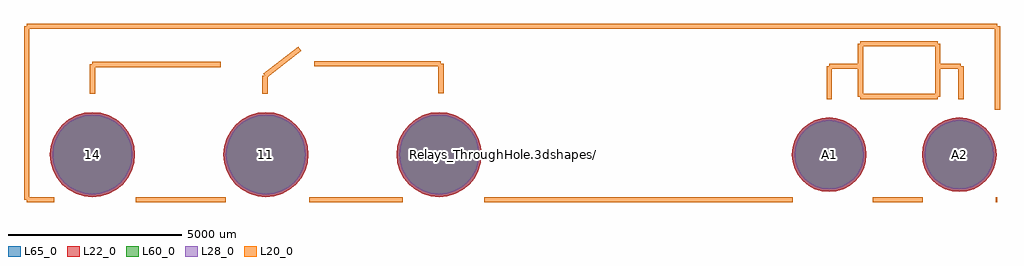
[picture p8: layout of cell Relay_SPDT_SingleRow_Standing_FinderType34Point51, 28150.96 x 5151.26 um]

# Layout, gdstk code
import gdstk
lib = gdstk.Library(unit=1e-6, precision=1e-09)
def P(c, l, *ps):  # polygons
    for p in ps: c.add(gdstk.Polygon(p, *l))
L20_0 = (20, 0)
L22_0 = (22, 0)
L28_0 = (28, 0)
L60_0 = (60, 0)
L65_0 = (65, 0)

relay_spdt_singlerow_sta = lib.new_cell('Relay_SPDT_SingleRow_Standing_FinderType34Point51')
P(relay_spdt_singlerow_sta, L22_0, [(14229.15,0),(14208.504,209.623),(14147.359,411.19),(14048.066,596.955),(13914.439,759.779),(13751.615,893.406),(13565.85,992.699),(13364.283,1053.844),(13154.66,1074.49),(12945.037,1053.844),(12743.47,992.699),(12557.705,893.406),(12394.881,759.779),(12261.254,596.955),(12161.961,411.19),(12100.816,209.623),(12080.17,0),(12100.816,-209.623),(12161.961,-411.19),(12261.254,-596.955),(12394.881,-759.779),(12557.705,-893.406),(12743.47,-992.699),(12945.037,-1053.844),(13154.66,-1074.49),(13364.283,-1053.844),(13565.85,-992.699),(13751.615,-893.406),(13914.439,-759.779),(14048.066,-596.955),(14147.359,-411.19),(14208.504,-209.623)],
  [(10477.57,0),(10456.924,209.623),(10395.779,411.19),(10296.486,596.955),(10162.859,759.779),(10000.035,893.406),(9814.27,992.699),(9612.703,1053.844),(9403.08,1074.49),(9193.457,1053.844),(8991.89,992.699),(8806.125,893.406),(8643.301,759.779),(8509.674,596.955),(8410.381,411.19),(8349.236,209.623),(8328.59,0),(8349.236,-209.623),(8410.381,-411.19),(8509.674,-596.955),(8643.301,-759.779),(8806.125,-893.406),(8991.89,-992.699),(9193.457,-1053.844),(9403.08,-1074.49),(9612.703,-1053.844),(9814.27,-992.699),(10000.035,-893.406),(10162.859,-759.779),(10296.486,-596.955),(10395.779,-411.19),(10456.924,-209.623)],
  [(-620.96,0),(-644.51,239.107),(-714.255,469.024),(-827.514,680.918),(-979.936,866.644),(-1165.662,1019.066),(-1377.556,1132.325),(-1607.473,1202.07),(-1846.58,1225.62),(-2085.687,1202.07),(-2315.604,1132.325),(-2527.498,1019.066),(-2713.224,866.644),(-2865.646,680.918),(-2978.905,469.024),(-3048.65,239.107),(-3072.2,0),(-3048.65,-239.107),(-2978.905,-469.024),(-2865.646,-680.918),(-2713.224,-866.644),(-2527.498,-1019.066),(-2315.604,-1132.325),(-2085.687,-1202.07),(-1846.58,-1225.62),(-1607.473,-1202.07),(-1377.556,-1132.325),(-1165.662,-1019.066),(-979.936,-866.644),(-827.514,-680.918),(-714.255,-469.024),(-644.51,-239.107)],
  [(-5619.68,0),(-5643.23,239.107),(-5712.975,469.024),(-5826.234,680.918),(-5978.656,866.644),(-6164.382,1019.066),(-6376.276,1132.325),(-6606.193,1202.07),(-6845.3,1225.62),(-7084.407,1202.07),(-7314.324,1132.325),(-7526.218,1019.066),(-7711.944,866.644),(-7864.366,680.918),(-7977.625,469.024),(-8047.37,239.107),(-8070.92,0),(-8047.37,-239.107),(-7977.625,-469.024),(-7864.366,-680.918),(-7711.944,-866.644),(-7526.218,-1019.066),(-7314.324,-1132.325),(-7084.407,-1202.07),(-6845.3,-1225.62),(-6606.193,-1202.07),(-6376.276,-1132.325),(-6164.382,-1019.066),(-5978.656,-866.644),(-5826.234,-680.918),(-5712.975,-469.024),(-5643.23,-239.107)],
  [(-10620.94,0),(-10644.49,239.107),(-10714.235,469.024),(-10827.494,680.918),(-10979.916,866.644),(-11165.642,1019.066),(-11377.536,1132.325),(-11607.453,1202.07),(-11846.56,1225.62),(-12085.667,1202.07),(-12315.584,1132.325),(-12527.478,1019.066),(-12713.204,866.644),(-12865.626,680.918),(-12978.885,469.024),(-13048.63,239.107),(-13072.18,0),(-13048.63,-239.107),(-12978.885,-469.024),(-12865.626,-680.918),(-12713.204,-866.644),(-12527.478,-1019.066),(-12315.584,-1132.325),(-12085.667,-1202.07),(-11846.56,-1225.62),(-11607.453,-1202.07),(-11377.536,-1132.325),(-11165.642,-1019.066),(-10979.916,-866.644),(-10827.494,-680.918),(-10714.235,-469.024),(-10644.49,-239.107)])
P(relay_spdt_singlerow_sta, L28_0, [(14154.15,0),(14134.945,194.991),(14078.068,382.488),(13985.706,555.287),(13861.406,706.746),(13709.947,831.046),(13537.148,923.408),(13349.651,980.285),(13154.66,999.49),(12959.669,980.285),(12772.172,923.408),(12599.373,831.046),(12447.914,706.746),(12323.614,555.287),(12231.252,382.488),(12174.375,194.991),(12155.17,0),(12174.375,-194.991),(12231.252,-382.488),(12323.614,-555.287),(12447.914,-706.746),(12599.373,-831.046),(12772.172,-923.408),(12959.669,-980.285),(13154.66,-999.49),(13349.651,-980.285),(13537.148,-923.408),(13709.947,-831.046),(13861.406,-706.746),(13985.706,-555.287),(14078.068,-382.488),(14134.945,-194.991)],
  [(10402.57,0),(10383.365,194.991),(10326.488,382.488),(10234.126,555.287),(10109.826,706.746),(9958.367,831.046),(9785.568,923.408),(9598.071,980.285),(9403.08,999.49),(9208.089,980.285),(9020.592,923.408),(8847.793,831.046),(8696.334,706.746),(8572.034,555.287),(8479.672,382.488),(8422.795,194.991),(8403.59,0),(8422.795,-194.991),(8479.672,-382.488),(8572.034,-555.287),(8696.334,-706.746),(8847.793,-831.046),(9020.592,-923.408),(9208.089,-980.285),(9403.08,-999.49),(9598.071,-980.285),(9785.568,-923.408),(9958.367,-831.046),(10109.826,-706.746),(10234.126,-555.287),(10326.488,-382.488),(10383.365,-194.991)],
  [(-695.96,0),(-718.069,224.475),(-783.546,440.323),(-889.874,639.25),(-1032.969,813.611),(-1207.33,956.706),(-1406.257,1063.034),(-1622.105,1128.511),(-1846.58,1150.62),(-2071.055,1128.511),(-2286.903,1063.034),(-2485.83,956.706),(-2660.191,813.611),(-2803.286,639.25),(-2909.614,440.323),(-2975.091,224.475),(-2997.2,0),(-2975.091,-224.475),(-2909.614,-440.323),(-2803.286,-639.25),(-2660.191,-813.611),(-2485.83,-956.706),(-2286.903,-1063.034),(-2071.055,-1128.511),(-1846.58,-1150.62),(-1622.105,-1128.511),(-1406.257,-1063.034),(-1207.33,-956.706),(-1032.969,-813.611),(-889.874,-639.25),(-783.546,-440.323),(-718.069,-224.475)],
  [(-5694.68,0),(-5716.789,224.475),(-5782.266,440.323),(-5888.594,639.25),(-6031.689,813.611),(-6206.05,956.706),(-6404.977,1063.034),(-6620.825,1128.511),(-6845.3,1150.62),(-7069.775,1128.511),(-7285.623,1063.034),(-7484.55,956.706),(-7658.911,813.611),(-7802.006,639.25),(-7908.334,440.323),(-7973.811,224.475),(-7995.92,0),(-7973.811,-224.475),(-7908.334,-440.323),(-7802.006,-639.25),(-7658.911,-813.611),(-7484.55,-956.706),(-7285.623,-1063.034),(-7069.775,-1128.511),(-6845.3,-1150.62),(-6620.825,-1128.511),(-6404.977,-1063.034),(-6206.05,-956.706),(-6031.689,-813.611),(-5888.594,-639.25),(-5782.266,-440.323),(-5716.789,-224.475)],
  [(-10695.94,0),(-10718.049,224.475),(-10783.526,440.323),(-10889.854,639.25),(-11032.949,813.611),(-11207.31,956.706),(-11406.237,1063.034),(-11622.085,1128.511),(-11846.56,1150.62),(-12071.035,1128.511),(-12286.883,1063.034),(-12485.81,956.706),(-12660.171,813.611),(-12803.266,639.25),(-12909.594,440.323),(-12975.071,224.475),(-12997.18,0),(-12975.071,-224.475),(-12909.594,-440.323),(-12803.266,-639.25),(-12660.171,-813.611),(-12485.81,-956.706),(-12286.883,-1063.034),(-12071.035,-1128.511),(-11846.56,-1150.62),(-11622.085,-1128.511),(-11406.237,-1063.034),(-11207.31,-956.706),(-11032.949,-813.611),(-10889.854,-639.25),(-10783.526,-440.323),(-10718.049,-224.475)])
P(relay_spdt_singlerow_sta, L60_0, [(14154.15,0),(14134.945,194.991),(14078.068,382.488),(13985.706,555.287),(13861.406,706.746),(13709.947,831.046),(13537.148,923.408),(13349.651,980.285),(13154.66,999.49),(12959.669,980.285),(12772.172,923.408),(12599.373,831.046),(12447.914,706.746),(12323.614,555.287),(12231.252,382.488),(12174.375,194.991),(12155.17,0),(12174.375,-194.991),(12231.252,-382.488),(12323.614,-555.287),(12447.914,-706.746),(12599.373,-831.046),(12772.172,-923.408),(12959.669,-980.285),(13154.66,-999.49),(13349.651,-980.285),(13537.148,-923.408),(13709.947,-831.046),(13861.406,-706.746),(13985.706,-555.287),(14078.068,-382.488),(14134.945,-194.991)],
  [(10402.57,0),(10383.365,194.991),(10326.488,382.488),(10234.126,555.287),(10109.826,706.746),(9958.367,831.046),(9785.568,923.408),(9598.071,980.285),(9403.08,999.49),(9208.089,980.285),(9020.592,923.408),(8847.793,831.046),(8696.334,706.746),(8572.034,555.287),(8479.672,382.488),(8422.795,194.991),(8403.59,0),(8422.795,-194.991),(8479.672,-382.488),(8572.034,-555.287),(8696.334,-706.746),(8847.793,-831.046),(9020.592,-923.408),(9208.089,-980.285),(9403.08,-999.49),(9598.071,-980.285),(9785.568,-923.408),(9958.367,-831.046),(10109.826,-706.746),(10234.126,-555.287),(10326.488,-382.488),(10383.365,-194.991)],
  [(-695.96,0),(-718.069,224.475),(-783.546,440.323),(-889.874,639.25),(-1032.969,813.611),(-1207.33,956.706),(-1406.257,1063.034),(-1622.105,1128.511),(-1846.58,1150.62),(-2071.055,1128.511),(-2286.903,1063.034),(-2485.83,956.706),(-2660.191,813.611),(-2803.286,639.25),(-2909.614,440.323),(-2975.091,224.475),(-2997.2,0),(-2975.091,-224.475),(-2909.614,-440.323),(-2803.286,-639.25),(-2660.191,-813.611),(-2485.83,-956.706),(-2286.903,-1063.034),(-2071.055,-1128.511),(-1846.58,-1150.62),(-1622.105,-1128.511),(-1406.257,-1063.034),(-1207.33,-956.706),(-1032.969,-813.611),(-889.874,-639.25),(-783.546,-440.323),(-718.069,-224.475)],
  [(-5694.68,0),(-5716.789,224.475),(-5782.266,440.323),(-5888.594,639.25),(-6031.689,813.611),(-6206.05,956.706),(-6404.977,1063.034),(-6620.825,1128.511),(-6845.3,1150.62),(-7069.775,1128.511),(-7285.623,1063.034),(-7484.55,956.706),(-7658.911,813.611),(-7802.006,639.25),(-7908.334,440.323),(-7973.811,224.475),(-7995.92,0),(-7973.811,-224.475),(-7908.334,-440.323),(-7802.006,-639.25),(-7658.911,-813.611),(-7484.55,-956.706),(-7285.623,-1063.034),(-7069.775,-1128.511),(-6845.3,-1150.62),(-6620.825,-1128.511),(-6404.977,-1063.034),(-6206.05,-956.706),(-6031.689,-813.611),(-5888.594,-639.25),(-5782.266,-440.323),(-5716.789,-224.475)],
  [(-10695.94,0),(-10718.049,224.475),(-10783.526,440.323),(-10889.854,639.25),(-11032.949,813.611),(-11207.31,956.706),(-11406.237,1063.034),(-11622.085,1128.511),(-11846.56,1150.62),(-12071.035,1128.511),(-12286.883,1063.034),(-12485.81,956.706),(-12660.171,813.611),(-12803.266,639.25),(-12909.594,440.323),(-12975.071,224.475),(-12997.18,0),(-12975.071,-224.475),(-12909.594,-440.323),(-12803.266,-639.25),(-12660.171,-813.611),(-12485.81,-956.706),(-12286.883,-1063.034),(-12071.035,-1128.511),(-11846.56,-1150.62),(-11622.085,-1128.511),(-11406.237,-1063.034),(-11207.31,-956.706),(-11032.949,-813.611),(-10889.854,-639.25),(-10783.526,-440.323),(-10718.049,-224.475)])
P(relay_spdt_singlerow_sta, L65_0, [(14229.15,0),(14208.504,209.623),(14147.359,411.19),(14048.066,596.955),(13914.439,759.779),(13751.615,893.406),(13565.85,992.699),(13364.283,1053.844),(13154.66,1074.49),(12945.037,1053.844),(12743.47,992.699),(12557.705,893.406),(12394.881,759.779),(12261.254,596.955),(12161.961,411.19),(12100.816,209.623),(12080.17,0),(12100.816,-209.623),(12161.961,-411.19),(12261.254,-596.955),(12394.881,-759.779),(12557.705,-893.406),(12743.47,-992.699),(12945.037,-1053.844),(13154.66,-1074.49),(13364.283,-1053.844),(13565.85,-992.699),(13751.615,-893.406),(13914.439,-759.779),(14048.066,-596.955),(14147.359,-411.19),(14208.504,-209.623)],
  [(10477.57,0),(10456.924,209.623),(10395.779,411.19),(10296.486,596.955),(10162.859,759.779),(10000.035,893.406),(9814.27,992.699),(9612.703,1053.844),(9403.08,1074.49),(9193.457,1053.844),(8991.89,992.699),(8806.125,893.406),(8643.301,759.779),(8509.674,596.955),(8410.381,411.19),(8349.236,209.623),(8328.59,0),(8349.236,-209.623),(8410.381,-411.19),(8509.674,-596.955),(8643.301,-759.779),(8806.125,-893.406),(8991.89,-992.699),(9193.457,-1053.844),(9403.08,-1074.49),(9612.703,-1053.844),(9814.27,-992.699),(10000.035,-893.406),(10162.859,-759.779),(10296.486,-596.955),(10395.779,-411.19),(10456.924,-209.623)],
  [(-620.96,0),(-644.51,239.107),(-714.255,469.024),(-827.514,680.918),(-979.936,866.644),(-1165.662,1019.066),(-1377.556,1132.325),(-1607.473,1202.07),(-1846.58,1225.62),(-2085.687,1202.07),(-2315.604,1132.325),(-2527.498,1019.066),(-2713.224,866.644),(-2865.646,680.918),(-2978.905,469.024),(-3048.65,239.107),(-3072.2,0),(-3048.65,-239.107),(-2978.905,-469.024),(-2865.646,-680.918),(-2713.224,-866.644),(-2527.498,-1019.066),(-2315.604,-1132.325),(-2085.687,-1202.07),(-1846.58,-1225.62),(-1607.473,-1202.07),(-1377.556,-1132.325),(-1165.662,-1019.066),(-979.936,-866.644),(-827.514,-680.918),(-714.255,-469.024),(-644.51,-239.107)],
  [(-5619.68,0),(-5643.23,239.107),(-5712.975,469.024),(-5826.234,680.918),(-5978.656,866.644),(-6164.382,1019.066),(-6376.276,1132.325),(-6606.193,1202.07),(-6845.3,1225.62),(-7084.407,1202.07),(-7314.324,1132.325),(-7526.218,1019.066),(-7711.944,866.644),(-7864.366,680.918),(-7977.625,469.024),(-8047.37,239.107),(-8070.92,0),(-8047.37,-239.107),(-7977.625,-469.024),(-7864.366,-680.918),(-7711.944,-866.644),(-7526.218,-1019.066),(-7314.324,-1132.325),(-7084.407,-1202.07),(-6845.3,-1225.62),(-6606.193,-1202.07),(-6376.276,-1132.325),(-6164.382,-1019.066),(-5978.656,-866.644),(-5826.234,-680.918),(-5712.975,-469.024),(-5643.23,-239.107)],
  [(-10620.94,0),(-10644.49,239.107),(-10714.235,469.024),(-10827.494,680.918),(-10979.916,866.644),(-11165.642,1019.066),(-11377.536,1132.325),(-11607.453,1202.07),(-11846.56,1225.62),(-12085.667,1202.07),(-12315.584,1132.325),(-12527.478,1019.066),(-12713.204,866.644),(-12865.626,680.918),(-12978.885,469.024),(-13048.63,239.107),(-13072.18,0),(-13048.63,-239.107),(-12978.885,-469.024),(-12865.626,-680.918),(-12713.204,-866.644),(-12527.478,-1019.066),(-12315.584,-1132.325),(-12085.667,-1202.07),(-11846.56,-1225.62),(-11607.453,-1202.07),(-11377.536,-1132.325),(-11165.642,-1019.066),(-10979.916,-866.644),(-10827.494,-680.918),(-10714.235,-469.024),(-10644.49,-239.107)])
relay_spdt_singlerow_sta.add(gdstk.FlexPath([(14254.48,3700.78),(14254.48,1300.48)], 149.998, ends="flush", simple_path=True, layer=20, datatype=0))  # L20_0
relay_spdt_singlerow_sta.add(gdstk.FlexPath([(-13746.48,3700.78),(14254.48,3700.78)], 149.998, ends="flush", simple_path=True, layer=20, datatype=0))  # L20_0
relay_spdt_singlerow_sta.add(gdstk.FlexPath([(-13746.48,-1300.48),(-13746.48,3700.78)], 149.998, ends="flush", simple_path=True, layer=20, datatype=0))  # L20_0
relay_spdt_singlerow_sta.add(gdstk.FlexPath([(12103.1,-1300.48),(10652.76,-1300.48)], 149.998, ends="flush", simple_path=True, layer=20, datatype=0))  # L20_0
relay_spdt_singlerow_sta.add(gdstk.FlexPath([(8354.06,-1300.48),(254,-1300.48)], 149.998, ends="flush", simple_path=True, layer=20, datatype=0))  # L20_0
relay_spdt_singlerow_sta.add(gdstk.FlexPath([(254,-1300.48),(-546.1,-1300.48)], 149.998, ends="flush", simple_path=True, layer=20, datatype=0))  # L20_0
relay_spdt_singlerow_sta.add(gdstk.FlexPath([(-2895.6,-1300.48),(-5595.62,-1300.48)], 149.998, ends="flush", simple_path=True, layer=20, datatype=0))  # L20_0
relay_spdt_singlerow_sta.add(gdstk.FlexPath([(-7995.92,-1300.48),(-10596.88,-1300.48)], 149.998, ends="flush", simple_path=True, layer=20, datatype=0))  # L20_0
relay_spdt_singlerow_sta.add(gdstk.FlexPath([(-12946.38,-1300.48),(-13746.48,-1300.48)], 149.998, ends="flush", simple_path=True, layer=20, datatype=0))  # L20_0
relay_spdt_singlerow_sta.add(gdstk.FlexPath([(14254.48,-1300.48),(14203.68,-1300.48)], 149.998, ends="flush", simple_path=True, layer=20, datatype=0))  # L20_0
relay_spdt_singlerow_sta.add(gdstk.FlexPath([(-6870.7,2275.84),(-5869.94,3050.54)], 149.998, ends="flush", simple_path=True, layer=20, datatype=0))  # L20_0
relay_spdt_singlerow_sta.add(gdstk.FlexPath([(-6870.7,1750.06),(-6870.7,2275.84)], 149.998, ends="flush", simple_path=True, layer=20, datatype=0))  # L20_0
relay_spdt_singlerow_sta.add(gdstk.FlexPath([(-1795.78,2623.82),(-1795.78,1775.46)], 149.998, ends="flush", simple_path=True, layer=20, datatype=0))  # L20_0
relay_spdt_singlerow_sta.add(gdstk.FlexPath([(-5445.76,2623.82),(-1795.78,2623.82)], 149.998, ends="flush", simple_path=True, layer=20, datatype=0))  # L20_0
relay_spdt_singlerow_sta.add(gdstk.FlexPath([(-11846.56,2600.96),(-11846.56,1750.06)], 149.998, ends="flush", simple_path=True, layer=20, datatype=0))  # L20_0
relay_spdt_singlerow_sta.add(gdstk.FlexPath([(-8145.78,2600.96),(-11846.56,2600.96)], 149.998, ends="flush", simple_path=True, layer=20, datatype=0))  # L20_0
relay_spdt_singlerow_sta.add(gdstk.FlexPath([(10304.78,1673.86),(10304.78,2600.96)], 149.998, ends="flush", simple_path=True, layer=20, datatype=0))  # L20_0
relay_spdt_singlerow_sta.add(gdstk.FlexPath([(12529.82,1673.86),(10304.78,1673.86)], 149.998, ends="flush", simple_path=True, layer=20, datatype=0))  # L20_0
relay_spdt_singlerow_sta.add(gdstk.FlexPath([(12529.82,3200.4),(12529.82,1673.86)], 149.998, ends="flush", simple_path=True, layer=20, datatype=0))  # L20_0
relay_spdt_singlerow_sta.add(gdstk.FlexPath([(10304.78,3200.4),(12529.82,3200.4)], 149.998, ends="flush", simple_path=True, layer=20, datatype=0))  # L20_0
relay_spdt_singlerow_sta.add(gdstk.FlexPath([(10304.78,2550.16),(10304.78,3200.4)], 149.998, ends="flush", simple_path=True, layer=20, datatype=0))  # L20_0
relay_spdt_singlerow_sta.add(gdstk.FlexPath([(9403.08,2550.16),(10304.78,2550.16)], 149.998, ends="flush", simple_path=True, layer=20, datatype=0))  # L20_0
relay_spdt_singlerow_sta.add(gdstk.FlexPath([(9403.08,1600.2),(9403.08,2550.16)], 149.998, ends="flush", simple_path=True, layer=20, datatype=0))  # L20_0
relay_spdt_singlerow_sta.add(gdstk.FlexPath([(13202.92,2550.16),(13202.92,1600.2)], 149.998, ends="flush", simple_path=True, layer=20, datatype=0))  # L20_0
relay_spdt_singlerow_sta.add(gdstk.FlexPath([(12555.22,2550.16),(13202.92,2550.16)], 149.998, ends="flush", simple_path=True, layer=20, datatype=0))  # L20_0
relay_spdt_singlerow_sta.add(gdstk.Label('Relays_ThroughHole.3dshapes/Relay_SPDT_SingleRow_Standing_FinderType34Point51.wrl', (0,0), layer=12, texttype=0))
relay_spdt_singlerow_sta.add(gdstk.Label('A2', (13154.66,0), layer=28, texttype=0))
relay_spdt_singlerow_sta.add(gdstk.Label('A1', (9403.08,0), layer=28, texttype=0))
relay_spdt_singlerow_sta.add(gdstk.Label('12', (-1846.58,0), layer=28, texttype=0))
relay_spdt_singlerow_sta.add(gdstk.Label('11', (-6845.3,0), layer=28, texttype=0))
relay_spdt_singlerow_sta.add(gdstk.Label('14', (-11846.56,0), layer=28, texttype=0))
relay_spdt_singlerow_sta.add(gdstk.Label('C', (-6969.76,-2100.58), layer=9, texttype=0))
relay_spdt_singlerow_sta.add(gdstk.Label('NO', (-11894.82,-2123.44), layer=9, texttype=0))
relay_spdt_singlerow_sta.add(gdstk.Label('NC', (-1844.04,-2148.84), layer=9, texttype=0))
relay_spdt_singlerow_sta.add(gdstk.Label('A1', (9504.68,-2148.84), layer=9, texttype=0))
relay_spdt_singlerow_sta.add(gdstk.Label('A2', (13355.32,-2197.1), layer=9, texttype=0))
relay_spdt_singlerow_sta.add(gdstk.Label('type', (1270,-5080), layer=9, texttype=0))
relay_spdt_singlerow_sta.add(gdstk.Label('devicename', (0,5080), layer=9, texttype=0))

lib.write_gds('Relay_SPDT_SingleRow_Standing_FinderType34Point51.gds')
